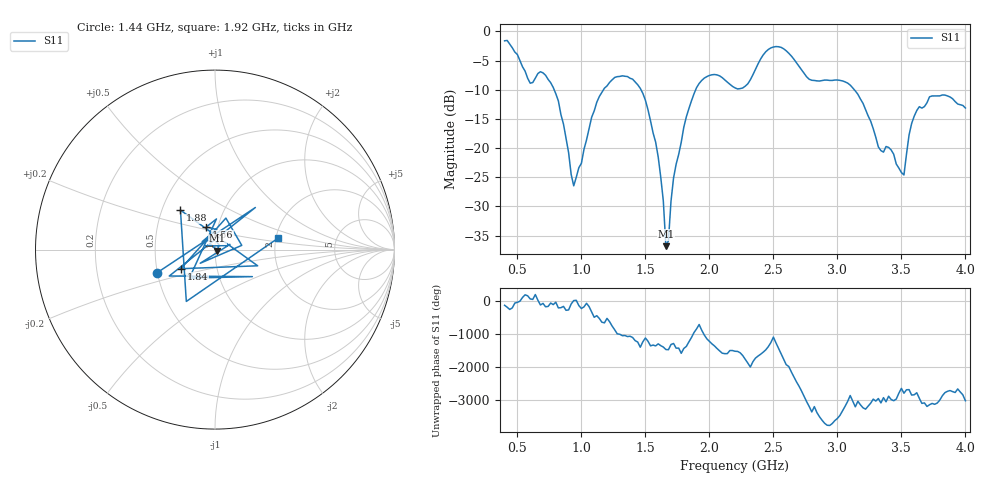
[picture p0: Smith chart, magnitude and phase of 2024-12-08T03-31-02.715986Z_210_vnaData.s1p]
!Created with skrf (http://scikit-rf.org).
# Hz S RI R 50.0
!freq ReS11 ImS11
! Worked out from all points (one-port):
!   181 points, 400 MHz to 4 GHz, reference 50 ohm
!   lowest |S11| = -36.8 dB at 1.66 GHz (marker M1), VSWR 1.03, Z = 51.3 - j0.592 ohm
!   |S11| at or under -10 dB: 787.2 MHz to 1.173 GHz (385.6 MHz wide, 39.3 % of centre); 1.466 GHz to 1.893 GHz (427.4 MHz wide, 25.5 % of centre); 3.132 GHz to end of sweep
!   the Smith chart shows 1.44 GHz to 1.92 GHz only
!   S11 on the Smith chart (normalised r, x): 1.44 GHz: 0.50, -0.15; 1.56 GHz: 0.88, +0.23; 1.84 GHz: 0.67, -0.15; 1.88 GHz: 0.62, +0.30; 1.92 GHz: 2.06, +0.30
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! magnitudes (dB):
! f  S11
! 400 MHz  -1.6
! 600 MHz  -8.9
! 720 MHz  -7.5
! 860 MHz  -15.9
! 940 MHz  -26.5
! 1.12 GHz  -12.2
! 1.3 GHz  -7.7
! 1.44 GHz  -9.1
! 1.56 GHz  -17.4
! 1.62 GHz  -25.0
! 1.66 GHz  -36.8
! 1.68 GHz  -35.9
! 1.72 GHz  -25.1
! 1.76 GHz  -21.1
! 1.84 GHz  -13.2
! 1.88 GHz  -10.7
! 1.92 GHz  -8.9
! 2.2 GHz  -9.7
! 2.48 GHz  -2.8
! 2.66 GHz  -4.8
! 2.78 GHz  -8.2
! 3.1 GHz  -9.2
! 3.32 GHz  -19.8
! 3.42 GHz  -20.3
! 3.52 GHz  -24.6
! 3.56 GHz  -17.7
! 3.72 GHz  -11.2
! 4 GHz  -13.1
